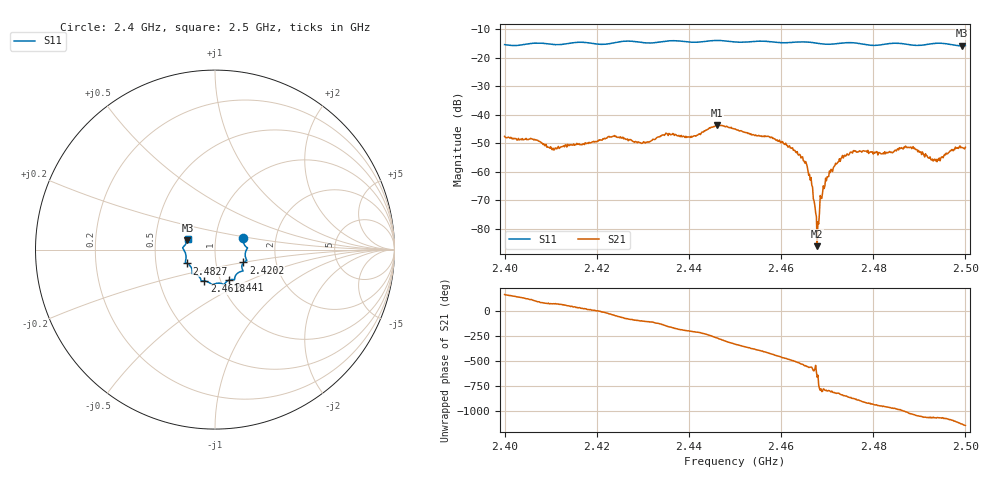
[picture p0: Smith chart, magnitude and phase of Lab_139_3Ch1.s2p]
# Hz S RI R 50
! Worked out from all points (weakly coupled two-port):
!   601 points, 2.4 GHz to 2.5 GHz, reference 50 ohm
!   highest |S21| = -43.69 dB at 2.446 GHz (marker M1); lowest = -86.2 dB at 2.4678 GHz (marker M2)
!   lowest |S11| = -15.8 dB at 2.4993 GHz (marker M3), VSWR 1.39, Z = 36.5 + j3.84 ohm
!   |S11| at or under -10 dB: start of sweep to end of sweep
!   S12 and S22 are empty: the file has one direction only
!   S11 on the Smith chart (normalised r, x): 2.4 GHz: 1.36, +0.18; 2.4202 GHz: 1.36, -0.20; 2.441 GHz: 1.10, -0.39; 2.4618 GHz: 0.84, -0.30; 2.4827 GHz: 0.72, -0.11; 2.5 GHz: 0.73, +0.09
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2.4e9  0.1583 0.0627  -0.00412 0.000704  0 0  0 0
2.410667e9  0.1702 -0.013  0.000487 0.00235  0 0  0 0
2.416667e9  0.1771 -0.061  0.00254 0.00154  0 0  0 0
2.420167e9  0.1585 -0.0713  0.00345 0.000396  0 0  0 0
2.43e9  0.1366 -0.1247  -0.000396 -0.00317  0 0  0 0
2.433333e9  0.1116 -0.1509  -0.00201 -0.00355  0 0  0 0
2.441e9  0.0789 -0.1697  -0.00383 0.00175  0 0  0 0
2.446e9  0.0499 -0.195  -0.000505 0.00652  0 0  0 0
2.45e9  0.0286 -0.1874  0.00482 0.00292  0 0  0 0
2.461833e9  -0.0591 -0.1754  -0.0016 -0.00235  0 0  0 0
2.465167e9  -0.0765 -0.1739  -0.0014 0.000171  0 0  0 0
2.466667e9  -0.0787 -0.1683  -0.000539 0.000209  0 0  0 0
2.467833e9  -0.0814 -0.1604  2.65e-05 4.15e-05  0 0  0 0
2.469667e9  -0.0923 -0.1464  0.000193 -0.000747  0 0  0 0
2.472833e9  -0.1193 -0.1346  -0.000593 -0.0014  0 0  0 0
2.475667e9  -0.1276 -0.1319  -0.00212 -0.000965  0 0  0 0
2.482667e9  -0.1558 -0.0771  -0.00108 0.00176  0 0  0 0
2.483333e9  -0.1602 -0.0751  -0.00095 0.00197  0 0  0 0
2.488167e9  -0.1612 -0.0476  0.00181 0.00202  0 0  0 0
2.494e9  -0.1799 0.00925  0.00161 0.000348  0 0  0 0
2.499333e9  -0.1539 0.0512  0.00156 -0.00214  0 0  0 0
2.5e9  -0.1522 0.0606  0.00103 -0.00248  0 0  0 0
